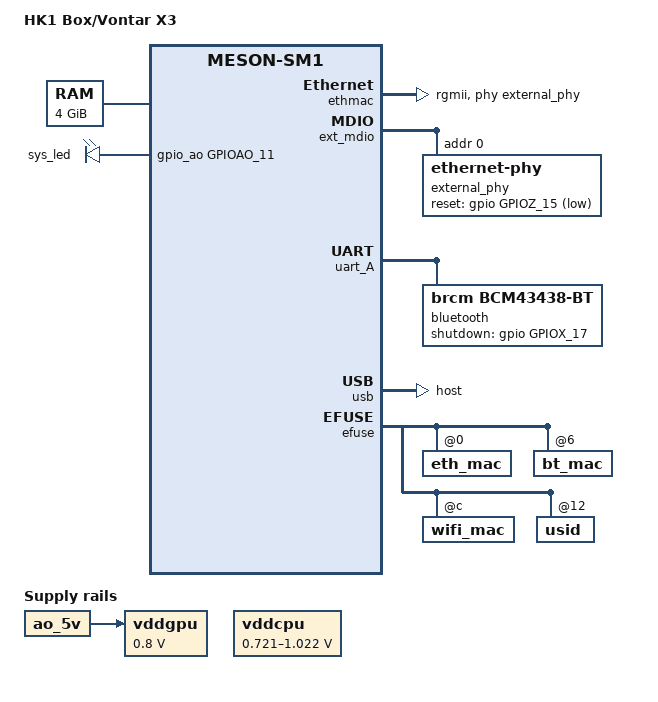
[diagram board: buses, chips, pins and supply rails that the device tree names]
// SPDX-License-Identifier: (GPL-2.0+ OR MIT)
/*
 * Copyright (c) 2019 BayLibre SAS. All rights reserved.
 * Copyright (c) 2020 Christian Hewitt <christianshewitt@gmail.com>
 * Copyright (c) 2021 flippy <uniqfreq@gmail.com>
 * Copyright (c) 2023 Guoxin Pu <pugokushin@gmail.com>
 */

/dts-v1/;

#include "meson-sm1-x96-air.dts"

/ {
	compatible = "amlogic,sm1";
	model = "HK1 Box/Vontar X3";

	memory@0 {
		device_type = "memory";
		reg = <0x0 0x0 0x0 0xFFFFFFFF>;
	};

	sound {
		model = "HK1-BOX";
	};

	vddgpu: regulator-vddgpu {
		compatible = "regulator-fixed";
		regulator-name = "mali";
		regulator-min-microvolt = <800000>;
		regulator-max-microvolt = <800000>;
		vin-supply = <&ao_5v>;
		regulator-always-on;
	};
	
	leds {
		compatible = "gpio-leds";
		status = "okay";
		sys_led {
			label = "sys_led";
			gpios = <&gpio_ao GPIOAO_11 GPIO_ACTIVE_HIGH>;
			default-state = "on";
			linux,default-trigger = "default-on";
		};
	};
};

&vddcpu {
	regulator-min-microvolt = <721000>;
	regulator-max-microvolt = <1022000>;
	pwms = <&pwm_AO_cd 1 1250 0>;
};

&ethmac {
	status = "okay";

	pinctrl-0 = <&eth_pins>, <&eth_rgmii_pins>;
	pinctrl-names = "default";
	phy-handle = <&external_phy>;

	phy-mode = "rgmii";
	amlogic,tx-delay-ns = <2>;

	snps,aal;
	snps,rxpbl = <0x8>;
	snps,txpbl = <0x8>;

	rx-fifo-depth = <4096>;
	tx-fifo-depth = <4096>;

	nvmem-cells = <&eth_mac>;
	nvmem-cell-names = "eth_mac";
};

&ext_mdio {
	external_phy: ethernet-phy@0 {
		/* 
		 * Realtek RTL8211F (0x001cc916) 
		 * JLSemi JL2101 (0x937c4032)
		 */
		reg = <0>;
		max-speed = <1000>;

		reset-assert-us = <30000>;
		reset-deassert-us = <80000>;
		reset-gpios = <&gpio GPIOZ_15 (GPIO_ACTIVE_LOW | GPIO_OPEN_DRAIN)>;

		interrupt-parent = <&gpio_intc>;
		/* MAC_INTR on GPIOZ_14 */
		interrupts = <26 IRQ_TYPE_LEVEL_LOW>;
	};
};

&uart_A {
	status = "okay";

	pinctrl-0 = <&uart_a_pins>, <&uart_a_cts_rts_pins>;
	pinctrl-names = "default";
	uart-has-rtscts;

	bluetooth {
		compatible = "brcm,bcm43438-bt";
		shutdown-gpios = <&gpio GPIOX_17 GPIO_ACTIVE_HIGH>;
		max-speed = <2000000>;
		clocks = <&wifi32k>;
		clock-names = "lpo";
	};
};

&mali {
	mali-supply=<&vddgpu>;
};

&usb {
	dr_mode = "host";
};

/* SDIO */
&sd_emmc_a {
	sd-uhs-sdr50;
	max-frequency = <100000000>;
};

/* Begin: fix hcy6355 wifi module problem */
&sdio_pins {
	mux {
		/delete-property/ bias-disable;
		bias-pull-up;
	};
};
/* End: fix hcy6355 wifi module problem */

/* SD card */
&sd_emmc_b {
	cap-sd-highspeed;
	max-frequency = <25000000>;
};

/* eMMC */
&sd_emmc_c {
	max-frequency = <200000000>;
};

&cpu_opp_table {
	opp-2016000000 {
		opp-hz = /bits/ 64 <2016000000>;
		opp-microvolt = <1000000>;
	};
};

&efuse {
	eth_mac: eth_mac@0 {
		reg = <0x0 0x06>;
	};

	bt_mac: bt_mac@6 {
		reg = <0x6 0x06>;
	};

	wifi_mac: wifi_mac@12 {
		reg = <0x0c 0x06>;
	};

	usid: usid@18 {
		reg = <0x12 0x10>;
	};
};
